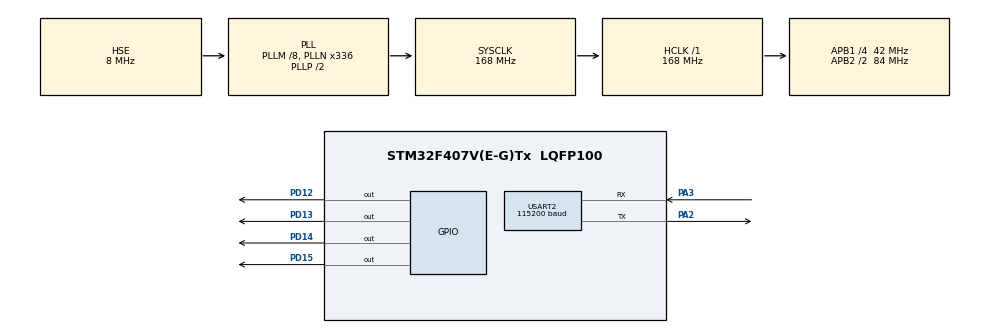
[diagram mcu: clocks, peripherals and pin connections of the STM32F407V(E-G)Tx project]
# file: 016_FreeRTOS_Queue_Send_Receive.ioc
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FREERTOS.Tasks01=defaultTask,24,128,StartDefaultTask,Default,NULL,Dynamic,NULL,NULL
Mcu.Family=STM32F4
Mcu.Name=STM32F407V(E-G)Tx
Mcu.Package=LQFP100
NVIC.PriorityGroup=NVIC_PRIORITYGROUP_4
NVIC.TIM8_TRG_COM_TIM14_IRQn=true\:15\:0\:false\:false\:true\:false\:false\:true\:true
NVIC.TimeBase=TIM8_TRG_COM_TIM14_IRQn
NVIC.TimeBaseIP=TIM14
NVIC.USART2_IRQn=true\:5\:0\:false\:false\:true\:true\:true\:true\:true
PA2.Mode=Asynchronous
PA2.Signal=USART2_TX
PA3.Mode=Asynchronous
PA3.Signal=USART2_RX
PD12.Signal=GPIO_Output
PD13.Signal=GPIO_Output
PD14.Signal=GPIO_Output
PD15.Signal=GPIO_Output
PH0-OSC_IN.Mode=HSE-External-Oscillator
PH0-OSC_IN.Signal=RCC_OSC_IN
PH1-OSC_OUT.Mode=HSE-External-Oscillator
PH1-OSC_OUT.Signal=RCC_OSC_OUT
ProjectManager.HeapSize=0x200
ProjectManager.StackSize=0x400
ProjectManager.TargetToolchain=STM32CubeIDE
RCC.48MHZClocksFreq_Value=48000000
RCC.AHBFreq_Value=168000000
RCC.APB1CLKDivider=RCC_HCLK_DIV4
RCC.APB1Freq_Value=42000000
RCC.APB1TimFreq_Value=84000000
RCC.APB2CLKDivider=RCC_HCLK_DIV2
RCC.APB2Freq_Value=84000000
RCC.APB2TimFreq_Value=168000000
RCC.CortexFreq_Value=168000000
RCC.HCLKFreq_Value=168000000
RCC.HSE_VALUE=8000000
RCC.HSI_VALUE=16000000
RCC.LSE_VALUE=32768
RCC.PLLM=8
RCC.PLLN=336
RCC.PLLQ=7
RCC.PLLSourceVirtual=RCC_PLLSOURCE_HSE
RCC.SYSCLKFreq_VALUE=168000000
RCC.SYSCLKSource=RCC_SYSCLKSOURCE_PLLCLK
RCC.VCOOutputFreq_Value=336000000
USART2.BaudRate=115200
USART2.VirtualMode=VM_ASYNC
VP_FREERTOS_VS_CMSIS_V2.Mode=CMSIS_V2
VP_SYS_VS_tim14.Mode=TIM14
board=STM32F407G-DISC1

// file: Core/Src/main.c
/* USER CODE BEGIN Header */
/**
  ******************************************************************************
  * @file           : main.c
  * @brief          : Main program body
  ******************************************************************************
  * @attention
  *
  * Copyright (c) 2023 STMicroelectronics.
  * All rights reserved.
  *
  * This software is licensed under terms that can be found in the LICENSE file
  * in the root directory of this software component.
  * If no LICENSE file comes with this software, it is provided AS-IS.
  *
  ******************************************************************************
  */
/* USER CODE END Header */
#include "main.h"

/* USER CODE BEGIN Includes */
#include "FreeRTOS.h"
#include "queue.h"
#include "task.h"
#include <string.h>
#include <stdio.h>
/* USER CODE END Includes */

UART_HandleTypeDef huart2;

/* Definitions for defaultTask */

/* USER CODE BEGIN PV */
/* Declare a variable of type QueueHandle_t. This is used to store the handle
to the queue that is accessed by all three tasks. */
QueueHandle_t xQueue;
/* USER CODE END PV */

void SystemClock_Config(void);
static void MX_GPIO_Init(void);
static void MX_USART2_UART_Init(void);

/* USER CODE BEGIN 0 */
static void vSenderTask(void *pvParameters)
{
	int32_t lValueToSend;
	BaseType_t xStatus;
	const char *failMessage = "Could not send to the queue\r\n";
	/* Two instances of this task are created so the value that is sent to the
	 queue is passed in via the task parameter - this way each instance can use
	 a different value. The queue was created to hold values of type int32_t,
	 so cast the parameter to the required type. */
	lValueToSend = (int32_t) pvParameters;

	/* As per most tasks, this task is implemented within an infinite loop. */
	for(;;)
	{
		/* Send the value to the queue.
		 The first parameter is the queue to which data is being sent. The
		 queue was created before the scheduler was started, so before this task
		 started to execute.
		 The second parameter is the address of the data to be sent, in this case
		 the address of lValueToSend.
		 The third parameter is the Block time – the time the task should be kept
		 in the Blocked state to wait for space to become available on the queue
		 should the queue already be full. In this case a block time is not
		 specified because the queue should never contain more than one item, and
		 therefore never be full. */
		xStatus = xQueueSendToBack(xQueue, &lValueToSend, 0);

		if(xStatus != pdPASS)
		{
			/* The send operation could not complete because the queue was full -
			 this must be an error as the queue should never contain more than
			 one item! */
			HAL_UART_Transmit(&huart2, (uint8_t *)failMessage, strlen(failMessage), HAL_MAX_DELAY);
		}
	}
}
static void vReceiverTask(void *pvParameters)
{
	/* Declare the variable that will hold the values received from the queue. */
	int32_t lReceivedValue;
	BaseType_t xStatus;
	const TickType_t xTicksToWait = pdMS_TO_TICKS(100);
	const char *emptyMessage = "Queue should have been empty!\r\n";
	const char *errorMessage = "Could not receive from the queue\r\n";
	/* This task is also defined within an infinite loop. */
	for(;;)
	{
		/* This call should always find the queue empty because this task will
		 immediately remove any data that is written to the queue. */
		if(uxQueueMessagesWaiting(xQueue) != 0)
		{
			HAL_UART_Transmit(&huart2, (uint8_t *)emptyMessage, strlen(emptyMessage), HAL_MAX_DELAY);
		}
		/* Receive data from the queue.
		 The first parameter is the queue from which data is to be received. The
		 queue is created before the scheduler is started, and therefore before this
		 task runs for the first time.
		 The second parameter is the buffer into which the received data will be
		 placed. In this case the buffer is simply the address of a variable that
		 has the required size to hold the received data.
		 The last parameter is the block time – the maximum amount of time that the
		 task will remain in the Blocked state to wait for data to be available
		 should the queue already be empty. */
		xStatus = xQueueReceive(xQueue, &lReceivedValue, xTicksToWait);
		if(xStatus == pdPASS)
		{
			/* Data was successfully received from the queue, print out the received
			 value. */
			char buffer[50];
			sprintf(buffer, "Received value : %ld\r\n", lReceivedValue);
			HAL_UART_Transmit(&huart2,(uint8_t *)buffer, strlen(buffer), HAL_MAX_DELAY);
		}
		else
		{
			/* Data was not received from the queue even after waiting for 100ms.
			 This must be an error as the sending tasks are free running and will be
			 continuously writing to the queue. */
			HAL_UART_Transmit(&huart2, (uint8_t *)errorMessage, strlen(errorMessage), HAL_MAX_DELAY);
		}
	}
}
/* USER CODE END 0 */

int main(void)
{

  /* MCU Configuration--------------------------------------------------------*/

  /* Reset of all peripherals, Initializes the Flash interface and the Systick. */
  HAL_Init();

  /* Configure the system clock */
  SystemClock_Config();

  /* Initialize all configured peripherals */
  MX_GPIO_Init();
  MX_USART2_UART_Init();
  /* USER CODE BEGIN 2 */
  /* The queue is created to hold a maximum of 5 values, each of which is
   large enough to hold a variable of type int32_t. */
  xQueue = xQueueCreate(5, sizeof(int32_t));

  if(xQueue != NULL)
  {
	  /* Create two instances of the task that will send to the queue. The task
	   parameter is used to pass the value that the task will write to the queue,
	   so one task will continuously write 100 to the queue while the other task
	   will continuously write 200 to the queue. Both tasks are created at
	   priority 1. */
	  xTaskCreate(vSenderTask,"Sender 1", 1000, (void *) 100, 1, NULL);
	  xTaskCreate(vSenderTask,"Sender 2", 1000, (void *) 200, 1, NULL);

	  /* Create the task that will read from the queue. The task is created with
	   priority 2, so above the priority of the sender tasks. */
	  xTaskCreate(vReceiverTask, "Receiver", 1000, NULL, 2, NULL);
	  /* Start the scheduler so the created tasks start executing. */
	   vTaskStartScheduler();
  }
  else
  {
	  /* The queue could not be created. */
	  char const *errorMessage = "Queue Couldn't created. Scheduler didn't started!\r\n";
	  HAL_UART_Transmit(&huart2, (uint8_t *)errorMessage, strlen(errorMessage), HAL_MAX_DELAY);
  }
  /* If all is well then main() will never reach here as the scheduler will
   now be running the tasks. If main() does reach here then it is likely that
   there was insufficient FreeRTOS heap memory available for the idle task to be
   created. Chapter 2 provides more information on heap memory management. */

  /* USER CODE END 2 */

  /* Init scheduler */

  /* Create the thread(s) */
  /* creation of defaultTask */

  /* Start scheduler */
  /* We should never get here as control is now taken by the scheduler */
  /* Infinite loop */
  while (1)
  {

  }
}

void SystemClock_Config(void)
{
  RCC_OscInitTypeDef RCC_OscInitStruct = {0};
  RCC_ClkInitTypeDef RCC_ClkInitStruct = {0};

  /** Configure the main internal regulator output voltage
  */
  __HAL_RCC_PWR_CLK_ENABLE();
  __HAL_PWR_VOLTAGESCALING_CONFIG(PWR_REGULATOR_VOLTAGE_SCALE1);

  /** Initializes the RCC Oscillators according to the specified parameters
  * in the RCC_OscInitTypeDef structure.
  */
  RCC_OscInitStruct.OscillatorType = RCC_OSCILLATORTYPE_HSE;
  RCC_OscInitStruct.HSEState = RCC_HSE_ON;
  RCC_OscInitStruct.PLL.PLLState = RCC_PLL_ON;
  RCC_OscInitStruct.PLL.PLLSource = RCC_PLLSOURCE_HSE;
  RCC_OscInitStruct.PLL.PLLM = 8;
  RCC_OscInitStruct.PLL.PLLN = 336;
  RCC_OscInitStruct.PLL.PLLP = RCC_PLLP_DIV2;
  RCC_OscInitStruct.PLL.PLLQ = 7;
  if (HAL_RCC_OscConfig(&RCC_OscInitStruct) != HAL_OK)
  {
    Error_Handler();
  }

  /** Initializes the CPU, AHB and APB buses clocks
  */
  RCC_ClkInitStruct.ClockType = RCC_CLOCKTYPE_HCLK|RCC_CLOCKTYPE_SYSCLK
                              |RCC_CLOCKTYPE_PCLK1|RCC_CLOCKTYPE_PCLK2;
  RCC_ClkInitStruct.SYSCLKSource = RCC_SYSCLKSOURCE_PLLCLK;
  RCC_ClkInitStruct.AHBCLKDivider = RCC_SYSCLK_DIV1;
  RCC_ClkInitStruct.APB1CLKDivider = RCC_HCLK_DIV4;
  RCC_ClkInitStruct.APB2CLKDivider = RCC_HCLK_DIV2;

  if (HAL_RCC_ClockConfig(&RCC_ClkInitStruct, FLASH_LATENCY_5) != HAL_OK)
  {
    Error_Handler();
  }
}

static void MX_USART2_UART_Init(void)
{

  huart2.Instance = USART2;
  huart2.Init.BaudRate = 115200;
  huart2.Init.WordLength = UART_WORDLENGTH_8B;
  huart2.Init.StopBits = UART_STOPBITS_1;
  huart2.Init.Parity = UART_PARITY_NONE;
  huart2.Init.Mode = UART_MODE_TX_RX;
  huart2.Init.HwFlowCtl = UART_HWCONTROL_NONE;
  huart2.Init.OverSampling = UART_OVERSAMPLING_16;
  if (HAL_UART_Init(&huart2) != HAL_OK)
  {
    Error_Handler();
  }

}

static void MX_GPIO_Init(void)
{
  GPIO_InitTypeDef GPIO_InitStruct = {0};

  /* GPIO Ports Clock Enable */
  __HAL_RCC_GPIOH_CLK_ENABLE();
  __HAL_RCC_GPIOA_CLK_ENABLE();
  __HAL_RCC_GPIOD_CLK_ENABLE();

  /*Configure GPIO pin Output Level */
  HAL_GPIO_WritePin(GPIOD, GPIO_PIN_12|GPIO_PIN_13|GPIO_PIN_14|GPIO_PIN_15, GPIO_PIN_RESET);

  /*Configure GPIO pins : PD12 PD13 PD14 PD15 */
  GPIO_InitStruct.Pin = GPIO_PIN_12|GPIO_PIN_13|GPIO_PIN_14|GPIO_PIN_15;
  GPIO_InitStruct.Mode = GPIO_MODE_OUTPUT_PP;
  GPIO_InitStruct.Pull = GPIO_NOPULL;
  GPIO_InitStruct.Speed = GPIO_SPEED_FREQ_LOW;
  HAL_GPIO_Init(GPIOD, &GPIO_InitStruct);

}

void HAL_TIM_PeriodElapsedCallback(TIM_HandleTypeDef *htim)
{
  if (htim->Instance == TIM14) {
    HAL_IncTick();
  }
}

void Error_Handler(void)
{
  __disable_irq();
  while (1)
  {
  }
}
